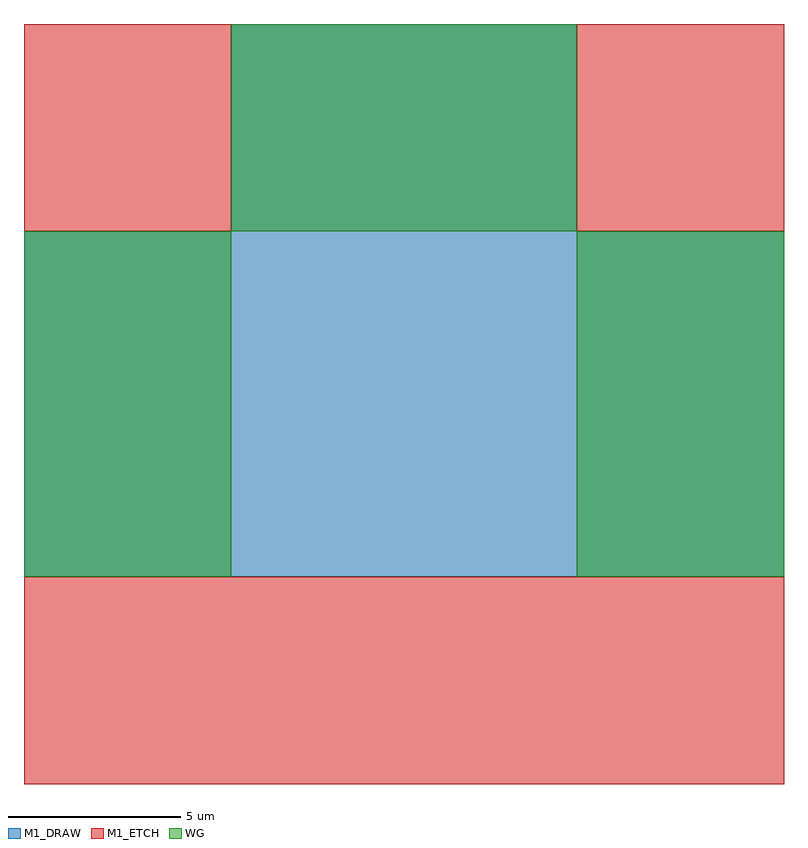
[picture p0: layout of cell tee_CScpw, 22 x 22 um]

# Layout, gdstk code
from math import pi, radians
import gdstk
lib = gdstk.Library(unit=1e-6, precision=1e-09)
def R(c, l, rs):  # rectangles x0, y0, x1, y1
    for r in rs: c.add(gdstk.rectangle(r[:2], r[2:], *l))
M1_DRAW = (1, 0)
M1_ETCH = (1, 1)
WG = (102, 0)

rectangle_gdsfactorypco_ = lib.new_cell('rectangle_gdsfactorypco_01a42715')
R(rectangle_gdsfactorypco_, M1_DRAW, [(0,0,10,10)])

nxn_n1_e1_s1_w1 = lib.new_cell('nxn_N1_E1_S1_W1')
nxn_n1_e1_s1_w1.add(gdstk.Reference(rectangle_gdsfactorypco_, (0,0)))

straight_cscoplanar_wave = lib.new_cell('straight_CScoplanar_waveguide_L6')
R(straight_cscoplanar_wave, M1_DRAW, [(0,-5,6,5)])
R(straight_cscoplanar_wave, M1_ETCH, [(0,-11,6,-5), (0,5,6,11)])
R(straight_cscoplanar_wave, WG, [(0,-5,6,5)])

rectangle_s6_10_lm1_etc_ = lib.new_cell('rectangle_S6_10_LM1_ETC_d0b94861')
R(rectangle_s6_10_lm1_etc_, M1_ETCH, [(-3,-5,3,5)])

tee_cscpw = lib.new_cell('tee_CScpw')
tee_cscpw.add(gdstk.Reference(nxn_n1_e1_s1_w1, (-5,-5)))
tee_cscpw.add(gdstk.Reference(straight_cscoplanar_wave, (-5,0), rotation=pi))
tee_cscpw.add(gdstk.Reference(straight_cscoplanar_wave, (5,0)))
tee_cscpw.add(gdstk.Reference(straight_cscoplanar_wave, (0,5), rotation=pi/2))
tee_cscpw.add(gdstk.Reference(rectangle_s6_10_lm1_etc_, (0,-8), rotation=3*pi/2))

lib.write_gds('tee_CScpw.gds')
